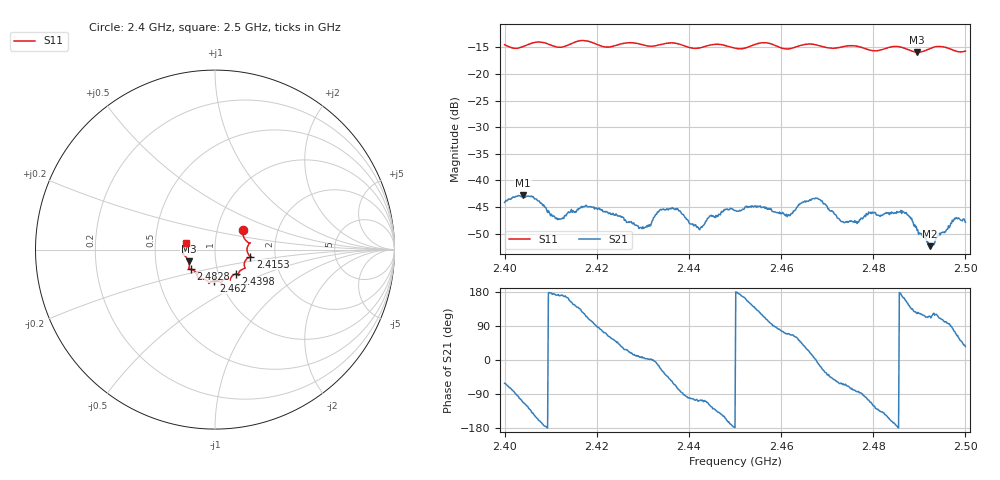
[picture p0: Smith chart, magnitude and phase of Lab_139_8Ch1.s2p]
# Hz S RI R 50
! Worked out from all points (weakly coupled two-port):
!   601 points, 2.4 GHz to 2.5 GHz, reference 50 ohm
!   highest |S21| = -42.81 dB at 2.404 GHz (marker M1); lowest = -52.4 dB at 2.4923 GHz (marker M2)
!   lowest |S11| = -15.9 dB at 2.4895 GHz (marker M3), VSWR 1.38, Z = 37 - j5 ohm
!   |S11| at or under -10 dB: start of sweep to end of sweep
!   S12 and S22 are empty: the file has one direction only
!   S11 on the Smith chart (normalised r, x): 2.4 GHz: 1.33, +0.30; 2.4153 GHz: 1.48, -0.12; 2.4398 GHz: 1.21, -0.34; 2.462 GHz: 0.93, -0.33; 2.4828 GHz: 0.74, -0.17; 2.5 GHz: 0.72, +0.06
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2.4e9  0.1553 0.1071  0.00297 -0.00546  0 0  0 0
2.404e9  0.1748 0.0474  -0.00269 -0.00671  0 0  0 0
2.4115e9  0.1787 0.00683  -0.00422 0.000642  0 0  0 0
2.415333e9  0.1962 -0.0389  -0.00407 0.00307  0 0  0 0
2.416667e9  0.202 -0.0427  -0.00362 0.00441  0 0  0 0
2.429667e9  0.1563 -0.108  0.00359 0.000392  0 0  0 0
2.433333e9  0.1309 -0.1335  0.00488 -0.00119  0 0  0 0
2.437e9  0.1322 -0.1436  0.00219 -0.00484  0 0  0 0
2.439833e9  0.1155 -0.1363  -0.000745 -0.00413  0 0  0 0
2.4425e9  0.092 -0.1508  -0.00098 -0.00344  0 0  0 0
2.444667e9  0.0846 -0.1674  -0.00243 -0.00396  0 0  0 0
2.45e9  0.0648 -0.1624  -0.00521 -0.000145  0 0  0 0
2.462e9  -0.00495 -0.1731  0.00189 0.00429  0 0  0 0
2.466667e9  -0.0345 -0.188  0.00649 0.0016  0 0  0 0
2.4735e9  -0.0843 -0.1602  0.00185 -0.00363  0 0  0 0
2.482833e9  -0.1363 -0.1095  -0.00416 -0.00276  0 0  0 0
2.483333e9  -0.1401 -0.1092  -0.00442 -0.00224  0 0  0 0
2.486833e9  -0.144 -0.0987  -0.00464 0.00164  0 0  0 0
2.4895e9  -0.1462 -0.066  -0.00181 0.00286  0 0  0 0
2.492333e9  -0.1709 -0.0317  -0.00102 0.00218  0 0  0 0
2.497667e9  -0.1655 0.000688  0.00111 0.00426  0 0  0 0
2.5e9  -0.1595 0.0388  0.00329 0.00235  0 0  0 0
